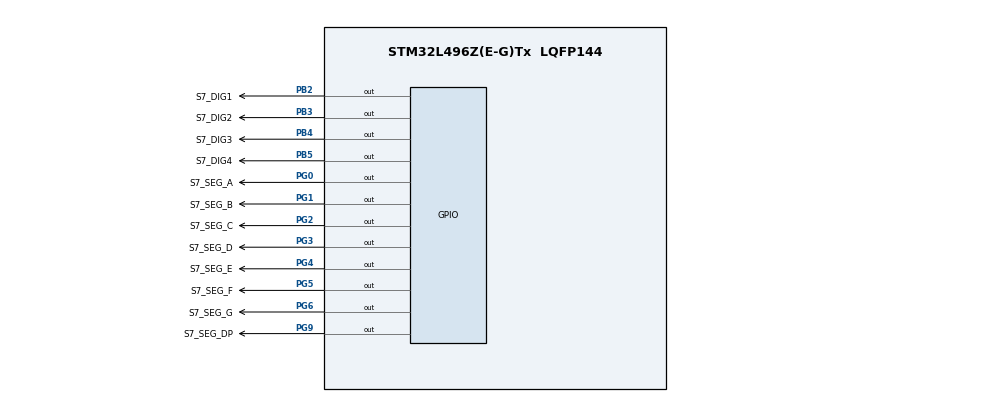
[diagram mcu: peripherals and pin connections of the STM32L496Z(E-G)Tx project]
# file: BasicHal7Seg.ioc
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Mcu.Family=STM32L4
Mcu.Name=STM32L496Z(E-G)Tx
Mcu.Package=LQFP144
NVIC.PriorityGroup=NVIC_PRIORITYGROUP_4
PB2.GPIO_Label=S7_DIG1
PB2.Signal=GPIO_Output
PB3\ (JTDO/TRACESWO).GPIO_Label=S7_DIG2
PB3\ (JTDO/TRACESWO).Signal=GPIO_Output
PB4\ (NJTRST).GPIO_Label=S7_DIG3
PB4\ (NJTRST).Signal=GPIO_Output
PB5.GPIO_Label=S7_DIG4
PB5.Signal=GPIO_Output
PG0.GPIO_Label=S7_SEG_A
PG0.Signal=GPIO_Output
PG1.GPIO_Label=S7_SEG_B
PG1.Signal=GPIO_Output
PG2.GPIO_Label=S7_SEG_C
PG2.Signal=GPIO_Output
PG3.GPIO_Label=S7_SEG_D
PG3.Signal=GPIO_Output
PG4.GPIO_Label=S7_SEG_E
PG4.Signal=GPIO_Output
PG5.GPIO_Label=S7_SEG_F
PG5.Signal=GPIO_Output
PG6.GPIO_Label=S7_SEG_G
PG6.Signal=GPIO_Output
PG9.GPIO_Label=S7_SEG_DP
PG9.Signal=GPIO_Output
ProjectManager.HeapSize=0x200
ProjectManager.StackSize=0x400
ProjectManager.TargetToolchain=STM32CubeIDE
RCC.HSE_VALUE=8000000
RCC.HSI48_VALUE=48000000
RCC.HSI_VALUE=16000000
RCC.LSE_VALUE=32768
RCC.MSI_VALUE=4000000
RCC.VCOOutputFreq_Value=32000000
board=custom

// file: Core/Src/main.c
/* USER CODE BEGIN Header */
/**
 ******************************************************************************
 * @file           : main.c
 * @brief          : Main program body
 ******************************************************************************
 * @attention
 *
 * <h2><center>&copy; Copyright (c) 2020 STMicroelectronics.
 * All rights reserved.</center></h2>
 *
 * This software component is licensed by ST under BSD 3-Clause license,
 * the "License"; You may not use this file except in compliance with the
 * License. You may obtain a copy of the License at:
 *                        opensource.org/licenses/BSD-3-Clause
 *
 ******************************************************************************
 */
/* USER CODE END Header */
#include "main.h"

/* USER CODE BEGIN PV */
const uint8_t codeSegments[] = {
S7_SEG_A_Pin | S7_SEG_B_Pin | S7_SEG_C_Pin | S7_SEG_D_Pin | S7_SEG_E_Pin | S7_SEG_F_Pin, // 0
		S7_SEG_B_Pin | S7_SEG_C_Pin,							// 1
		S7_SEG_A_Pin | S7_SEG_B_Pin | S7_SEG_G_Pin | S7_SEG_E_Pin | S7_SEG_D_Pin,				 // 2
		S7_SEG_A_Pin | S7_SEG_B_Pin | S7_SEG_G_Pin | S7_SEG_C_Pin | S7_SEG_D_Pin, // 3
		S7_SEG_F_Pin | S7_SEG_G_Pin | S7_SEG_B_Pin | S7_SEG_C_Pin, // 4
		S7_SEG_A_Pin | S7_SEG_F_Pin | S7_SEG_G_Pin | S7_SEG_C_Pin | S7_SEG_D_Pin, // 5
		S7_SEG_A_Pin | S7_SEG_F_Pin | S7_SEG_E_Pin | S7_SEG_D_Pin | S7_SEG_C_Pin | S7_SEG_G_Pin, // 6
		S7_SEG_A_Pin | S7_SEG_B_Pin | S7_SEG_C_Pin, // 7
		S7_SEG_A_Pin | S7_SEG_B_Pin | S7_SEG_C_Pin | S7_SEG_D_Pin | S7_SEG_E_Pin | S7_SEG_F_Pin | S7_SEG_G_Pin, // 8
		S7_SEG_A_Pin | S7_SEG_B_Pin | S7_SEG_C_Pin | S7_SEG_D_Pin | S7_SEG_F_Pin | S7_SEG_G_Pin // 9
};

const uint8_t digitModule[] = { S7_DIG4_Pin, S7_DIG3_Pin, S7_DIG2_Pin, S7_DIG1_Pin };

uint16_t display[4];

/* USER CODE END PV */

void SystemClock_Config(void);
static void MX_GPIO_Init(void);

/* USER CODE BEGIN 0 */
uint32_t S7_Display(int16_t value){
	if(value >= 0 && value < 10000){
		display[0] = codeSegments[value % 10];
		value /= 10;
		display[1] = value ? codeSegments[value % 10] : 0;
		value /= 10;
		display[2] = value ? codeSegments[value % 10] : 0;
		value /= 10;
		display[3] = value ? codeSegments[value % 10] : 0;
		return 0;
	} else if (value < 0 && value > -1000){
		// TODO: Implementacja dla liczb ujemnych - zadanie dodatkowe 2
		return 0;
	} else {
		return 1;
	}
}

/* USER CODE END 0 */

int main(void) {

	/* MCU Configuration--------------------------------------------------------*/

	/* Reset of all peripherals, Initializes the Flash interface and the Systick. */
	HAL_Init();

	/* Configure the system clock */
	SystemClock_Config();

	/* Initialize all configured peripherals */
	MX_GPIO_Init();

	/* Infinite loop */
	/* USER CODE BEGIN WHILE */
	uint32_t muxDelay = 1;
	uint32_t cnt= 0;
//	HAL_GPIO_WritePin(S7_DIG4_GPIO_Port, S7_DIG4_Pin, GPIO_PIN_SET);
	while (1) {
		S7_Display(cnt++);
		HAL_Delay(100);
		for (int i = 0; i < 4; ++i)
		{
			HAL_GPIO_WritePin(GPIOG, display[i], GPIO_PIN_SET);
			HAL_GPIO_WritePin(GPIOB, digitModule[i], GPIO_PIN_SET);
			HAL_Delay(muxDelay);
			HAL_GPIO_WritePin(GPIOB, digitModule[i], GPIO_PIN_RESET);
			HAL_GPIO_WritePin(GPIOG, display[i], GPIO_PIN_RESET);

		}
		/* USER CODE END WHILE */

	}
}

void SystemClock_Config(void) {
	RCC_OscInitTypeDef RCC_OscInitStruct = { 0 };
	RCC_ClkInitTypeDef RCC_ClkInitStruct = { 0 };

	/** Initializes the RCC Oscillators according to the specified parameters
	 * in the RCC_OscInitTypeDef structure.
	 */
	RCC_OscInitStruct.OscillatorType = RCC_OSCILLATORTYPE_MSI;
	RCC_OscInitStruct.MSIState = RCC_MSI_ON;
	RCC_OscInitStruct.MSICalibrationValue = 0;
	RCC_OscInitStruct.MSIClockRange = RCC_MSIRANGE_6;
	RCC_OscInitStruct.PLL.PLLState = RCC_PLL_NONE;
	if (HAL_RCC_OscConfig(&RCC_OscInitStruct) != HAL_OK) {
		Error_Handler();
	}
	/** Initializes the CPU, AHB and APB buses clocks
	 */
	RCC_ClkInitStruct.ClockType = RCC_CLOCKTYPE_HCLK | RCC_CLOCKTYPE_SYSCLK | RCC_CLOCKTYPE_PCLK1 | RCC_CLOCKTYPE_PCLK2;
	RCC_ClkInitStruct.SYSCLKSource = RCC_SYSCLKSOURCE_MSI;
	RCC_ClkInitStruct.AHBCLKDivider = RCC_SYSCLK_DIV1;
	RCC_ClkInitStruct.APB1CLKDivider = RCC_HCLK_DIV1;
	RCC_ClkInitStruct.APB2CLKDivider = RCC_HCLK_DIV1;

	if (HAL_RCC_ClockConfig(&RCC_ClkInitStruct, FLASH_LATENCY_0) != HAL_OK) {
		Error_Handler();
	}
	/** Configure the main internal regulator output voltage
	 */
	if (HAL_PWREx_ControlVoltageScaling(PWR_REGULATOR_VOLTAGE_SCALE1) != HAL_OK) {
		Error_Handler();
	}
}

static void MX_GPIO_Init(void) {
	GPIO_InitTypeDef GPIO_InitStruct = { 0 };

	/* GPIO Ports Clock Enable */
	__HAL_RCC_GPIOB_CLK_ENABLE();
	__HAL_RCC_GPIOG_CLK_ENABLE();
	HAL_PWREx_EnableVddIO2();

	/*Configure GPIO pin Output Level */
	HAL_GPIO_WritePin(GPIOB,
	S7_DIG1_Pin | S7_DIG2_Pin | S7_DIG3_Pin | S7_DIG4_Pin, GPIO_PIN_RESET);

	/*Configure GPIO pin Output Level */
	HAL_GPIO_WritePin(GPIOG,
	S7_SEG_A_Pin | S7_SEG_B_Pin | S7_SEG_C_Pin | S7_SEG_D_Pin | S7_SEG_E_Pin | S7_SEG_F_Pin | S7_SEG_G_Pin | S7_SEG_DP_Pin, GPIO_PIN_RESET);

	/*Configure GPIO pins : S7_DIG1_Pin S7_DIG2_Pin S7_DIG3_Pin S7_DIG4_Pin */
	GPIO_InitStruct.Pin = S7_DIG1_Pin | S7_DIG2_Pin | S7_DIG3_Pin | S7_DIG4_Pin;
	GPIO_InitStruct.Mode = GPIO_MODE_OUTPUT_PP;
	GPIO_InitStruct.Pull = GPIO_NOPULL;
	GPIO_InitStruct.Speed = GPIO_SPEED_FREQ_LOW;
	HAL_GPIO_Init(GPIOB, &GPIO_InitStruct);

	/*Configure GPIO pins : S7_SEG_A_Pin S7_SEG_B_Pin S7_SEG_C_Pin S7_SEG_D_Pin
	 S7_SEG_E_Pin S7_SEG_F_Pin S7_SEG_G_Pin S7_SEG_DP_Pin */
	GPIO_InitStruct.Pin = S7_SEG_A_Pin | S7_SEG_B_Pin | S7_SEG_C_Pin | S7_SEG_D_Pin | S7_SEG_E_Pin | S7_SEG_F_Pin | S7_SEG_G_Pin | S7_SEG_DP_Pin;
	GPIO_InitStruct.Mode = GPIO_MODE_OUTPUT_PP;
	GPIO_InitStruct.Pull = GPIO_NOPULL;
	GPIO_InitStruct.Speed = GPIO_SPEED_FREQ_LOW;
	HAL_GPIO_Init(GPIOG, &GPIO_InitStruct);

}

void Error_Handler(void) {
	__disable_irq();
	while (1) {
	}
}

/************************ (C) COPYRIGHT STMicroelectronics *****END OF FILE****/
